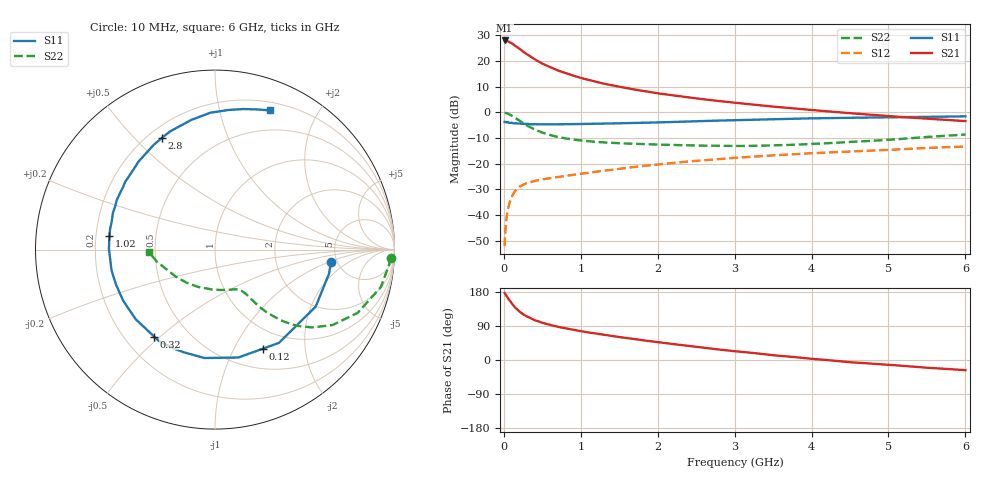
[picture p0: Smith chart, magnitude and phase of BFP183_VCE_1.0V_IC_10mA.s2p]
! Infineon Technologies  Discrete & RF Semiconductors
! BFP183
! VCE = 1.0 V,  IC =  10 mA
! Common Emitter S-Parameters:  Jan 2016
# GHz  S  MA  R  50
!  f  S11  S21  S12  S22
! GHz  MAG  ANG  MAG  ANG  MAG  ANG  MAG  ANG
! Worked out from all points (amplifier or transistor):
!   210 points, 10 MHz to 6 GHz, reference 50 ohm
!   highest |S21| = 27.9 dB at 10 MHz (marker M1)
!   |S21| within 3 dB of that: start of sweep to 191.7 MHz
!   unconditionally stable (mu >= 1): 1.026 GHz to end of sweep
!   at 185 MHz: K = 0.27, MSG = 27.2 dB, |S12| = -29.4 dB
!   at 1.52 GHz: K = 1.15, MAG = 13.5 dB, |S12| = -21.9 dB
!   at 6 GHz: K = 1.01, MAG = 4.4 dB, |S12| = -13.3 dB
!   S11 on the Smith chart (normalised r, x): 10 MHz: 4.46, -1.03; 120 MHz: 0.74, -1.31; 320 MHz: 0.32, -0.48; 1.02 GHz: 0.26, +0.06; 2.8 GHz: 0.25, +0.60; 6 GHz: 0.28, +1.43
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0.01  0.6501 -5.9  24.89 177.0  0.0025 82.1  0.9791 -2.6
0.02  0.6493 -12.0  24.88 173.9  0.0051 82.4  0.9726 -5.2
0.05  0.6446 -29.6  24.25 164.0  0.0125 78.6  0.9474 -12.7
0.1  0.6301 -55.6  22.03 149.8  0.0225 65.4  0.8698 -23.9
0.12  0.613 -64.3  20.95 145.3  0.0255 61.7  0.8309 -27.2
0.15  0.6152 -77.8  19.6 137.7  0.0301 57.5  0.7784 -32.7
0.2  0.6069 -95.6  17.27 128.3  0.0355 51.5  0.6917 -38.8
0.26  0.5971 -112.3  14.77 119.5  0.0396 46.1  0.6034 -43.9
0.3  0.5972 -121.7  13.43 114.7  0.0422 44.4  0.5521 -46.4
0.32  0.5912 -125.0  12.87 113.1  0.043 43.5  0.5342 -47.1
0.4  0.5879 -138.7  10.73 105.1  0.0463 40.2  0.4634 -50.2
0.5  0.5856 -150.9  8.819 98.2  0.0497 38.5  0.4029 -52.2
0.6  0.585 -160.6  7.563 92.5  0.0523 38.7  0.3604 -53.3
0.8  0.5861 -174.8  5.777 83.5  0.0581 39.0  0.3107 -54.7
1.02  0.5927 172.8  4.572 75.4  0.0642 40.1  0.2811 -56.4
1.5  0.6127 153.3  3.139 60.5  0.0798 41.5  0.2497 -62.3
2.02  0.6366 135.7  2.316 46.6  0.0974 40.6  0.2355 -72.1
2.8  0.6899 115.3  1.653 27.5  0.1233 36.6  0.2235 -92.7
3.1  0.7084 108.7  1.482 21.4  0.133 34.7  0.2216 -102.0
4.1  0.7656 90.5  1.077 1.6  0.1627 27.2  0.246 -133.8
5.1  0.8014 77.6  0.821 -14.2  0.1889 20.5  0.2987 -160.2
6  0.8337 68.5  0.674 -26.9  0.2159 12.6  0.3698 -178.3
